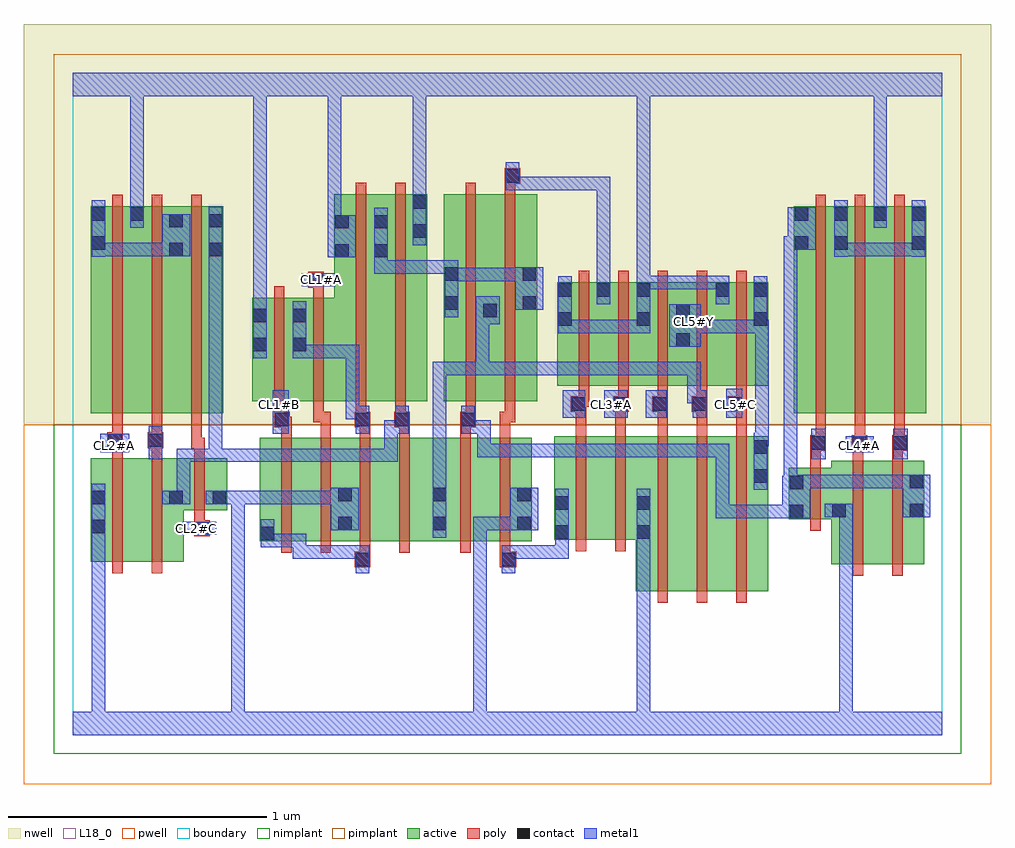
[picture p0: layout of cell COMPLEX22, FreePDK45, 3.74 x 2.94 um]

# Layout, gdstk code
import gdstk
lib = gdstk.Library(unit=1e-6, precision=1e-09)
def R(c, l, rs):  # rectangles x0, y0, x1, y1
    for r in rs: c.add(gdstk.rectangle(r[:2], r[2:], *l))
def A(c, l, x, y, w, h, nx, ny, dx, dy):  # array of equal rectangles
    R(c, l, [(x+i*dx, y+j*dy, x+i*dx+w, y+j*dy+h) for i in range(nx) for j in range(ny)])
active = (1, 0)
pwell = (2, 0)
nwell = (3, 0)
nimplant = (4, 0)
pimplant = (5, 0)
poly = (9, 0)
contact = (10, 0)
metal1 = (11, 0)
L18_0 = (18, 0)
boundary = (235, 0)

complex22 = lib.new_cell('COMPLEX22')
R(complex22, active, [(2.176,0.556,2.356,1.156), (2.356,0.556,2.508,1.156), (2.508,0.556,2.688,1.156), (2.628,0.556,2.688,1.156), (2.93,0.66,3.11,1.06), (3.11,0.66,3.29,1.06), (0.07,0.67,0.25,1.07), (0.25,0.67,0.43,1.07), (0.37,0.67,0.43,1.07), (0.722,0.75,0.902,1.15), (0.722,0.75,0.782,1.15), (0.902,0.75,1.082,1.15), (1.022,0.75,1.206,1.15), (1.206,0.75,1.448,1.15), (1.388,0.75,1.594,1.15), (1.594,0.75,1.774,1.15), (1.714,0.75,1.774,1.15), (0.07,0.756,0.13,1.07), (1.022,0.756,1.082,1.15), (1.388,0.756,1.448,1.15), (1.86,0.756,2.04,1.156), (1.86,0.756,1.92,1.156), (2.04,0.756,2.236,1.156), (2.176,0.756,2.236,1.156), (3.23,0.756,3.29,1.06), (2.766,0.834,2.99,1.034), (2.766,0.834,2.826,1.034), (2.93,0.838,2.99,1.034), (0.37,0.87,0.598,1.07), (0.538,0.87,0.598,1.07), (0.07,1.244,0.13,2.044), (0.07,1.244,0.278,2.044), (0.218,1.244,0.43,2.044), (0.37,1.244,0.582,2.044), (0.522,1.244,0.582,2.044), (2.786,1.244,2.846,2.044), (2.786,1.244,2.998,2.044), (2.938,1.244,3.15,2.044), (3.09,1.244,3.298,2.044), (3.238,1.244,3.298,2.044), (0.694,1.29,0.754,1.69), (0.694,1.29,0.906,1.69), (0.846,1.29,0.906,1.69), (0.846,1.29,1.07,1.69), (1.01,1.29,1.222,2.09), (1.01,1.29,1.07,2.014), (1.162,1.29,1.37,2.09), (1.31,1.29,1.37,2.09), (1.434,1.29,1.642,2.09), (1.434,1.29,1.494,2.044), (1.582,1.29,1.794,2.09), (1.734,1.29,1.794,2.044), (1.872,1.35,1.932,1.75), (1.872,1.35,2.08,1.75), (2.02,1.35,2.08,1.75), (2.02,1.35,2.236,1.75), (2.176,1.35,2.236,1.75), (2.176,1.35,2.388,1.75), (2.328,1.35,2.54,1.75), (2.328,1.35,2.388,1.67), (2.48,1.35,2.54,1.75), (2.48,1.35,2.688,1.75), (2.628,1.35,2.688,1.75), (1.582,1.612,1.642,2.044), (0.218,1.686,0.278,2.044), (0.37,1.686,0.43,2.044), (1.162,1.686,1.222,2.044), (2.938,1.686,2.998,2.044), (3.09,1.686,3.15,2.044)])
R(complex22, pwell, [(-0.188,-0.188,3.548,1.2)])
R(complex22, nwell, [(-0.188,1.2,3.548,2.748)])
R(complex22, nimplant, [(-0.072,-0.072,3.432,1.2)])
R(complex22, pimplant, [(-0.072,1.2,3.432,2.632)])
A(complex22, poly, 2.26, 0.512, 0.04, 0.688, 3, 1, 0.152, 0)
A(complex22, poly, 0.806, 0.706, 0.04, 0.488, 4, 1, 0.152, 0)
A(complex22, poly, 2.87, 1.12, 0.04, 0.12, 3, 1, 0.152, 0)
A(complex22, poly, 2.26, 1.16, 0.04, 0.13, 3, 1, 0.152, 0)
A(complex22, poly, 0.154, 1.2, 0.04, 0.888, 3, 1, 0.152, 0)
A(complex22, poly, 2.87, 1.2, 0.04, 0.888, 3, 1, 0.152, 0)
A(complex22, poly, 2.088, 1.25, 0.06, 0.06, 3, 1, 0.152, 0)
A(complex22, poly, 1.956, 1.27, 0.04, 0.076, 5, 1, 0.152, 0)
A(complex22, poly, 1.956, 1.306, 0.04, 0.488, 5, 1, 0.152, 0)
R(complex22, poly, [(3.014,0.616,3.054,1.104), (3.166,0.616,3.206,1.104), (0.154,0.626,0.194,1.114), (0.306,0.626,0.346,1.114), (1.09,0.65,1.15,0.71), (1.65,0.65,1.714,0.71), (1.11,0.67,1.15,0.746), (1.65,0.67,1.69,0.746), (1.498,0.706,1.538,1.194), (1.65,0.706,1.69,1.194), (1.944,0.712,1.984,1.2), (2.096,0.712,2.136,1.2), (0.47,0.77,0.53,0.83), (0.47,0.79,0.51,0.866), (2.85,0.79,2.89,1.078), (0.47,0.826,0.51,1.114), (2.85,1.038,2.89,1.14), (3.014,1.064,3.054,1.14), (3.166,1.064,3.206,1.14), (0.154,1.074,0.194,1.15), (0.306,1.074,0.346,1.15), (0.47,1.074,0.51,1.15), (2.85,1.1,2.91,1.16), (3.01,1.1,3.07,1.16), (3.166,1.1,3.226,1.16), (0.134,1.11,0.194,1.17), (0.154,1.11,0.194,1.15), (0.154,1.11,0.194,1.15), (0.29,1.11,0.35,1.17), (0.306,1.11,0.346,1.15), (0.306,1.11,0.346,1.15), (0.458,1.11,0.498,1.15), (0.458,1.11,0.498,1.15), (0.458,1.11,0.498,1.24), (0.458,1.11,0.51,1.15), (2.87,1.12,2.91,1.16), (2.87,1.12,2.91,1.16), (3.022,1.12,3.062,1.16), (3.022,1.12,3.062,1.16), (3.174,1.12,3.214,1.16), (3.174,1.12,3.214,1.16), (0.154,1.13,0.194,1.24), (0.306,1.13,0.346,1.24), (0.806,1.154,0.846,1.23), (0.958,1.154,0.998,1.25), (1.11,1.154,1.15,1.23), (1.262,1.154,1.302,1.23), (1.498,1.154,1.538,1.23), (1.65,1.154,1.69,1.25), (1.944,1.16,1.984,1.29), (2.096,1.16,2.136,1.29), (0.778,1.19,0.838,1.25), (0.798,1.19,0.838,1.23), (0.798,1.19,0.846,1.23), (1.09,1.19,1.15,1.25), (1.11,1.19,1.15,1.23), (1.11,1.19,1.15,1.23), (1.242,1.19,1.302,1.25), (1.498,1.19,1.558,1.25), (0.778,1.21,0.818,1.286), (0.93,1.21,0.97,1.25), (0.93,1.21,0.97,1.25), (0.93,1.21,0.97,1.286), (0.93,1.21,0.998,1.25), (1.094,1.21,1.134,1.286), (1.246,1.21,1.286,1.25), (1.246,1.21,1.286,1.25), (1.246,1.21,1.286,1.286), (1.518,1.21,1.558,1.25), (1.518,1.21,1.558,1.25), (1.518,1.21,1.558,1.286), (1.65,1.21,1.71,1.25), (1.67,1.21,1.71,1.25), (1.67,1.21,1.71,1.25), (1.67,1.21,1.71,1.286), (0.778,1.246,0.818,1.734), (0.93,1.246,0.97,1.734), (1.094,1.246,1.134,2.134), (1.246,1.246,1.286,2.134), (1.518,1.246,1.558,2.134), (1.67,1.246,1.71,2.134), (1.924,1.25,1.984,1.31), (2.412,1.25,2.452,1.29), (2.412,1.25,2.452,1.29), (2.53,1.25,2.604,1.31), (2.564,1.25,2.604,1.29), (2.564,1.25,2.604,1.29), (1.944,1.27,1.984,1.31), (1.944,1.27,1.996,1.31), (2.108,1.27,2.148,1.31), (2.108,1.27,2.148,1.31), (2.26,1.27,2.3,1.31), (2.26,1.27,2.3,1.31), (0.93,1.694,0.97,1.77), (0.91,1.73,0.97,1.79), (1.67,2.094,1.71,2.17), (1.67,2.13,1.73,2.19)])
A(complex22, contact, 2.092, 1.254, 0.052, 0.052, 3, 1, 0.152, 0)
A(complex22, contact, 2.79, 1.988, 0.052, 0.052, 3, 1, 0.152, 0)
R(complex22, contact, [(1.094,0.654,1.146,0.706), (1.658,0.654,1.71,0.706), (0.726,0.754,0.778,0.806), (1.864,0.76,1.916,0.812), (2.18,0.76,2.232,0.812), (0.474,0.774,0.526,0.826), (0.074,0.78,0.126,0.832), (1.026,0.792,1.078,0.844), (1.392,0.792,1.444,0.844), (1.718,0.792,1.77,0.844), (2.77,0.838,2.822,0.89), (2.934,0.842,2.986,0.894), (3.234,0.842,3.286,0.894), (1.864,0.872,1.916,0.924), (2.18,0.872,2.232,0.924), (0.074,0.892,0.126,0.944), (0.374,0.892,0.426,0.944), (0.542,0.892,0.594,0.944), (1.026,0.904,1.078,0.956), (1.392,0.904,1.444,0.956), (1.718,0.904,1.77,0.956), (2.77,0.95,2.822,1.002), (3.234,0.954,3.286,1.006), (2.632,0.976,2.684,1.028), (2.632,1.088,2.684,1.14), (2.854,1.104,2.906,1.156), (3.014,1.104,3.066,1.156), (3.17,1.104,3.222,1.156), (0.138,1.114,0.19,1.166), (0.294,1.114,0.346,1.166), (0.782,1.194,0.834,1.246), (1.094,1.194,1.146,1.246), (1.246,1.194,1.298,1.246), (1.502,1.194,1.554,1.246), (1.928,1.254,1.98,1.306), (2.534,1.254,2.586,1.306), (0.698,1.484,0.75,1.536), (0.85,1.484,0.902,1.536), (2.332,1.502,2.384,1.554), (1.876,1.582,1.928,1.634), (2.18,1.582,2.232,1.634), (2.632,1.582,2.684,1.634), (0.698,1.596,0.75,1.648), (0.85,1.596,0.902,1.648), (2.332,1.614,2.384,1.666), (1.586,1.616,1.638,1.668), (1.438,1.644,1.49,1.696), (1.738,1.644,1.79,1.696), (1.876,1.694,1.928,1.746), (2.024,1.694,2.076,1.746), (2.18,1.694,2.232,1.746), (2.484,1.694,2.536,1.746), (2.632,1.694,2.684,1.746), (0.914,1.734,0.966,1.786), (1.438,1.756,1.49,1.808), (1.738,1.756,1.79,1.808), (1.014,1.846,1.066,1.898), (1.166,1.846,1.218,1.898), (0.374,1.85,0.426,1.902), (0.526,1.85,0.578,1.902), (0.074,1.876,0.126,1.928), (2.79,1.876,2.842,1.928), (2.942,1.876,2.994,1.928), (3.242,1.876,3.294,1.928), (1.314,1.922,1.366,1.974), (1.014,1.958,1.066,2.01), (1.166,1.958,1.218,2.01), (0.374,1.962,0.426,2.014), (0.526,1.962,0.578,2.014), (0.074,1.988,0.126,2.04), (0.222,1.988,0.274,2.04), (3.242,1.988,3.294,2.04), (1.314,2.034,1.366,2.086), (1.674,2.134,1.726,2.186)])
R(complex22, metal1, [(0,0,3.36,0.092), (0.074,0.04,0.126,0.092), (0.074,0.04,0.126,0.092), (0.074,0.04,0.126,0.092), (0.074,0.04,0.126,0.092), (0.074,0.04,0.126,0.092), (0.074,0.04,0.126,0.092), (0.074,0.04,0.126,0.092), (0.074,0.04,0.126,0.092), (0.074,0.04,0.126,0.092), (0.074,0.04,0.126,0.092), (0.074,0.04,0.126,0.092), (0.074,0.04,0.126,0.092), (0.074,0.04,0.126,0.804), (0.612,0.04,0.664,0.092), (0.612,0.04,0.664,0.092), (0.612,0.04,0.664,0.092), (0.612,0.04,0.664,0.092), (0.612,0.04,0.664,0.092), (0.612,0.04,0.664,0.092), (0.612,0.04,0.664,0.44), (1.548,0.04,1.6,0.092), (1.548,0.04,1.6,0.092), (1.548,0.04,1.6,0.342), (2.18,0.04,2.232,0.784), (2.962,0.04,3.014,0.092), (2.962,0.04,3.014,0.092), (2.962,0.04,3.014,0.838), (1.548,0.29,1.6,0.342), (1.548,0.29,1.6,0.342), (1.548,0.29,1.6,0.342), (1.548,0.29,1.6,0.342), (1.548,0.29,1.6,0.342), (1.548,0.29,1.6,0.844), (0.612,0.388,0.664,0.44), (0.612,0.388,0.664,0.44), (0.612,0.388,0.664,0.44), (0.612,0.388,0.664,0.44), (0.612,0.388,0.664,0.44), (0.612,0.388,0.664,0.944), (1.094,0.626,1.146,0.734), (1.658,0.626,1.71,0.734), (0.85,0.682,0.902,0.734), (0.85,0.682,0.902,0.734), (0.85,0.682,0.902,0.734), (0.85,0.682,1.108,0.734), (0.85,0.682,0.902,0.778), (1.056,0.682,1.108,0.734), (1.056,0.682,1.146,0.734), (1.658,0.682,1.818,0.734), (1.766,0.682,1.818,0.734), (1.766,0.682,1.916,0.734), (1.864,0.682,1.916,0.734), (1.864,0.682,1.916,0.784), (0.726,0.726,0.778,0.778), (0.726,0.726,0.778,0.778), (0.726,0.726,0.778,0.834), (0.726,0.726,0.902,0.778), (0.85,0.726,0.902,0.778), (1.864,0.732,1.916,0.952), (2.18,0.732,2.232,0.784), (2.18,0.732,2.232,0.784), (2.18,0.732,2.232,0.784), (2.18,0.732,2.232,0.784), (2.18,0.732,2.232,0.784), (2.18,0.732,2.232,0.784), (2.18,0.732,2.232,0.784), (2.18,0.732,2.232,0.784), (2.18,0.732,2.232,0.952), (0.074,0.752,0.126,0.972), (1.392,0.764,1.444,0.984), (0.426,0.774,0.554,0.826), (2.962,0.786,3.014,0.838), (2.962,0.786,3.014,0.838), (2.962,0.786,3.014,0.838), (2.962,0.786,3.014,0.838), (2.962,0.786,3.014,0.838), (2.962,0.786,3.014,0.838), (2.962,0.786,3.014,0.838), (2.962,0.786,3.014,0.838), (2.962,0.786,3.014,0.838), (2.962,0.786,3.014,0.894), (0.998,0.792,1.106,0.956), (1.548,0.792,1.6,0.844), (1.548,0.792,1.6,0.844), (1.548,0.792,1.6,0.844), (1.548,0.792,1.6,0.844), (1.548,0.792,1.6,0.844), (1.548,0.792,1.742,0.844), (1.69,0.792,1.742,0.844), (1.69,0.792,1.742,0.844), (1.69,0.792,1.798,0.956), (2.484,0.838,2.536,0.89), (2.484,0.838,2.536,0.89), (2.484,0.838,2.536,0.89), (2.484,0.838,2.774,0.89), (2.484,0.838,2.536,1.126), (2.722,0.838,2.774,0.89), (2.722,0.838,2.794,0.89), (2.742,0.838,2.85,1.002), (2.906,0.842,3.014,0.894), (3.206,0.842,3.314,1.006), (0.346,0.892,0.454,0.944), (0.402,0.892,0.454,1.108), (0.514,0.892,0.664,0.944), (0.612,0.892,0.664,0.944), (0.612,0.892,0.664,0.944), (0.612,0.892,0.664,0.944), (0.612,0.892,0.664,0.944), (0.612,0.892,0.792,0.944), (0.74,0.892,0.792,0.944), (0.74,0.892,0.792,0.944), (0.74,0.892,0.792,0.944), (0.74,0.892,0.902,0.944), (0.85,0.892,0.902,0.944), (0.85,0.892,0.902,0.944), (0.85,0.892,0.902,0.944), (0.85,0.892,1.05,0.944), (1.392,0.932,1.444,0.984), (1.392,0.932,1.444,0.984), (1.392,0.932,1.444,1.444), (2.632,0.948,2.684,1.168), (2.748,0.95,2.8,1.002), (2.748,0.95,2.8,1.006), (2.748,0.954,2.884,1.006), (2.748,0.954,2.8,1.928), (2.832,0.954,2.884,1.006), (2.832,0.954,3.036,1.006), (2.984,0.954,3.036,1.006), (2.984,0.954,3.036,1.006), (2.984,0.954,3.036,1.006), (2.984,0.954,3.146,1.006), (3.094,0.954,3.146,1.006), (3.094,0.954,3.258,1.006), (3.206,0.954,3.258,1.006), (3.206,0.954,3.258,1.006), (0.402,1.056,0.456,1.108), (0.404,1.056,0.456,1.108), (0.404,1.056,0.456,1.108), (0.404,1.056,0.456,1.108), (0.404,1.056,0.456,1.108), (0.404,1.056,0.456,1.108), (0.404,1.056,0.456,1.108), (0.404,1.056,0.566,1.108), (0.404,1.056,0.578,1.108), (0.514,1.056,0.566,1.108), (0.514,1.056,0.774,1.108), (0.526,1.056,0.578,1.108), (0.526,1.056,0.578,1.874), (0.722,1.056,0.774,1.108), (0.722,1.056,0.774,1.108), (0.722,1.056,0.774,1.108), (0.722,1.056,0.902,1.108), (0.85,1.056,0.902,1.108), (0.85,1.056,0.928,1.108), (0.876,1.056,0.928,1.108), (0.876,1.056,1.038,1.108), (0.986,1.056,1.038,1.108), (0.986,1.056,1.038,1.108), (0.986,1.056,1.038,1.108), (0.986,1.056,1.256,1.108), (1.204,1.056,1.256,1.218), (0.294,1.066,0.346,1.194), (2.854,1.066,2.91,1.184), (3.17,1.066,3.226,1.184), (1.564,1.074,1.616,1.126), (1.564,1.074,1.664,1.126), (1.564,1.074,1.616,1.218), (1.612,1.074,1.664,1.126), (1.612,1.074,1.818,1.126), (1.766,1.074,1.818,1.126), (1.766,1.074,1.932,1.126), (1.88,1.074,1.932,1.126), (1.88,1.074,1.932,1.126), (1.88,1.074,1.932,1.126), (1.88,1.074,2.122,1.126), (2.07,1.074,2.122,1.126), (2.07,1.074,2.122,1.126), (2.07,1.074,2.122,1.126), (2.07,1.074,2.246,1.126), (2.194,1.074,2.246,1.126), (2.194,1.074,2.246,1.126), (2.194,1.074,2.246,1.126), (2.194,1.074,2.426,1.126), (2.374,1.074,2.426,1.126), (2.374,1.074,2.426,1.126), (2.374,1.074,2.426,1.126), (2.374,1.074,2.536,1.126), (2.484,1.074,2.536,1.126), (0.106,1.094,0.218,1.166), (2.986,1.094,3.094,1.156), (2.632,1.116,2.684,1.168), (2.632,1.116,2.69,1.168), (2.638,1.116,2.69,1.606), (0.774,1.166,0.834,1.334), (1.094,1.166,1.146,1.274), (1.204,1.166,1.298,1.218), (1.246,1.166,1.298,1.274), (1.502,1.166,1.554,1.274), (1.502,1.166,1.616,1.218), (1.564,1.166,1.616,1.218), (1.056,1.222,1.108,1.274), (1.056,1.222,1.146,1.274), (1.056,1.222,1.108,1.508), (1.894,1.226,1.98,1.334), (2.054,1.226,2.144,1.334), (2.214,1.226,2.296,1.334), (2.396,1.226,2.448,1.334), (2.526,1.226,2.586,1.338), (2.374,1.282,2.448,1.334), (2.374,1.282,2.426,1.444), (1.392,1.392,1.476,1.444), (1.424,1.392,1.476,1.444), (1.424,1.392,1.476,1.444), (1.424,1.392,1.61,1.444), (1.558,1.392,1.61,1.444), (1.558,1.392,1.806,1.444), (1.558,1.392,1.61,1.64), (1.754,1.392,1.806,1.444), (1.754,1.392,1.806,1.444), (1.754,1.392,1.806,1.444), (1.754,1.392,1.928,1.444), (1.876,1.392,1.928,1.444), (1.876,1.392,1.928,1.444), (1.876,1.392,1.928,1.444), (1.876,1.392,2.122,1.444), (2.07,1.392,2.122,1.444), (2.07,1.392,2.122,1.444), (2.07,1.392,2.122,1.444), (2.07,1.392,2.232,1.444), (2.18,1.392,2.232,1.444), (2.18,1.392,2.232,1.444), (2.18,1.392,2.232,1.444), (2.18,1.392,2.426,1.444), (0.698,1.456,0.75,1.676), (0.85,1.456,0.902,1.508), (0.85,1.456,0.902,1.508), (0.85,1.456,0.902,1.676), (0.85,1.456,1.108,1.508), (1.056,1.456,1.108,1.508), (2.304,1.502,2.426,1.666), (1.876,1.554,1.928,1.606), (1.876,1.554,1.928,1.606), (1.876,1.554,1.928,1.774), (1.876,1.554,2.098,1.606), (2.046,1.554,2.098,1.606), (2.046,1.554,2.098,1.606), (2.046,1.554,2.098,1.606), (2.046,1.554,2.232,1.606), (2.18,1.554,2.232,1.606), (2.18,1.554,2.232,1.606), (2.18,1.554,2.232,1.774), (2.374,1.554,2.426,1.606), (2.374,1.554,2.426,1.606), (2.374,1.554,2.574,1.606), (2.522,1.554,2.574,1.606), (2.522,1.554,2.574,1.606), (2.522,1.554,2.574,1.606), (2.522,1.554,2.684,1.606), (2.632,1.554,2.684,1.606), (2.632,1.554,2.684,1.774), (2.632,1.554,2.69,1.606), (2.638,1.554,2.69,1.606), (2.638,1.554,2.69,1.606), (1.558,1.588,1.65,1.696), (1.438,1.616,1.49,1.836), (0.698,1.624,0.75,1.676), (0.698,1.624,0.75,1.676), (0.698,1.624,0.75,1.676), (0.698,1.624,0.75,1.676), (0.698,1.624,0.75,1.676), (0.698,1.624,0.75,1.676), (0.698,1.624,0.75,1.676), (0.698,1.624,0.75,1.676), (0.698,1.624,0.75,2.06), (1.71,1.644,1.818,1.808), (2.024,1.666,2.076,1.774), (2.484,1.666,2.536,1.776), (2.024,1.722,2.076,1.774), (2.024,1.722,2.076,1.774), (2.024,1.722,2.076,1.774), (2.024,1.722,2.076,1.774), (2.024,1.722,2.076,1.774), (2.024,1.722,2.076,1.774), (2.024,1.722,2.076,2.158), (2.18,1.722,2.232,1.774), (2.18,1.722,2.232,1.776), (2.18,1.722,2.232,2.124), (2.18,1.724,2.426,1.776), (2.374,1.724,2.426,1.776), (2.374,1.724,2.426,1.776), (2.374,1.724,2.426,1.776), (2.374,1.724,2.536,1.776), (0.886,1.734,1.014,1.786), (1.438,1.754,1.49,1.806), (1.438,1.754,1.49,1.806), (1.438,1.754,1.6,1.806), (1.548,1.754,1.6,1.806), (1.548,1.754,1.762,1.806), (1.71,1.754,1.762,1.806), (1.71,1.754,1.762,1.806), (1.166,1.784,1.366,1.836), (1.166,1.784,1.218,1.87), (1.314,1.784,1.366,1.836), (1.314,1.784,1.49,1.836), (1.166,1.818,1.218,1.87), (1.166,1.818,1.218,2.038), (0.526,1.822,0.578,2.042), (0.986,1.846,1.094,2.01), (0.074,1.848,0.126,2.068), (2.942,1.848,2.994,2.068), (3.242,1.848,3.294,2.068), (0.074,1.85,0.236,1.902), (0.184,1.85,0.236,1.902), (0.184,1.85,0.236,1.902), (0.184,1.85,0.236,1.902), (0.184,1.85,0.346,1.902), (0.294,1.85,0.346,1.902), (0.294,1.85,0.398,1.902), (0.346,1.85,0.454,2.014), (2.942,1.85,2.994,1.902), (2.942,1.85,2.994,1.902), (2.942,1.85,3.148,1.902), (3.096,1.85,3.148,1.902), (3.096,1.85,3.294,1.902), (3.242,1.85,3.294,1.902), (3.242,1.85,3.294,1.902), (2.748,1.876,2.8,1.928), (2.748,1.876,2.8,1.928), (2.748,1.876,2.814,1.928), (2.762,1.876,2.814,1.928), (2.762,1.876,2.87,2.04), (1.314,1.894,1.366,2.114), (0.986,1.958,1.038,2.158), (0.222,1.96,0.274,2.068), (3.094,1.96,3.146,2.068), (0.698,2.008,0.75,2.06), (0.698,2.008,0.75,2.06), (0.698,2.008,0.75,2.06), (0.698,2.008,0.75,2.52), (0.222,2.016,0.274,2.08), (3.094,2.016,3.146,2.068), (3.094,2.016,3.146,2.068), (3.094,2.016,3.146,2.068), (3.094,2.016,3.146,2.068), (3.094,2.016,3.146,2.068), (3.094,2.016,3.146,2.068), (3.094,2.016,3.146,2.52), (0.222,2.028,0.274,2.08), (0.222,2.028,0.274,2.08), (0.222,2.028,0.274,2.08), (0.222,2.028,0.274,2.52), (1.314,2.062,1.366,2.114), (1.314,2.062,1.366,2.114), (1.314,2.062,1.366,2.114), (1.314,2.062,1.366,2.114), (1.314,2.062,1.366,2.114), (1.314,2.062,1.366,2.114), (1.314,2.062,1.366,2.114), (1.314,2.062,1.366,2.114), (1.314,2.062,1.366,2.52), (2.18,2.072,2.232,2.124), (2.18,2.072,2.232,2.124), (2.18,2.072,2.232,2.124), (2.18,2.072,2.232,2.124), (2.18,2.072,2.232,2.124), (2.18,2.072,2.232,2.192), (0.986,2.106,1.038,2.158), (0.986,2.106,1.038,2.158), (0.986,2.106,1.038,2.158), (0.986,2.106,1.038,2.52), (1.674,2.106,1.726,2.158), (1.674,2.106,1.726,2.158), (1.674,2.106,1.726,2.158), (1.674,2.106,1.726,2.158), (1.674,2.106,1.726,2.214), (1.674,2.106,1.966,2.158), (1.914,2.106,1.966,2.158), (1.914,2.106,1.966,2.158), (1.914,2.106,1.966,2.158), (1.914,2.106,2.076,2.158), (2.024,2.106,2.076,2.158), (2.18,2.14,2.232,2.192), (2.18,2.14,2.232,2.192), (2.18,2.14,2.232,2.192), (2.18,2.14,2.232,2.192), (2.18,2.14,2.232,2.192), (2.18,2.14,2.232,2.192), (2.18,2.14,2.232,2.192), (2.18,2.14,2.232,2.192), (2.18,2.14,2.232,2.192), (2.18,2.14,2.232,2.52), (0,2.468,3.36,2.56), (0.222,2.468,0.274,2.52), (0.222,2.468,0.274,2.52), (0.222,2.468,0.274,2.52), (0.222,2.468,0.274,2.52), (0.698,2.468,0.75,2.52), (0.698,2.468,0.75,2.52), (0.698,2.468,0.75,2.52), (0.698,2.468,0.75,2.52), (0.986,2.468,1.038,2.52), (0.986,2.468,1.038,2.52), (0.986,2.468,1.038,2.52), (0.986,2.468,1.038,2.52), (3.094,2.468,3.146,2.52), (3.094,2.468,3.146,2.52)])
A(complex22, L18_0, 2.854, 1.094, 0.052, 0.052, 3, 1, 0.16, 0)
A(complex22, L18_0, 1.894, 1.254, 0.052, 0.052, 3, 1, 0.16, 0)
R(complex22, L18_0, [(0,0,3.36,0.092), (0.074,0.04,0.126,0.092), (0.074,0.04,0.126,0.092), (0.074,0.04,0.126,0.092), (0.074,0.04,0.126,0.092), (0.074,0.04,0.126,0.092), (0.074,0.04,0.126,0.092), (0.074,0.04,0.126,0.092), (0.074,0.04,0.126,0.092), (0.074,0.04,0.126,0.092), (0.074,0.04,0.126,0.092), (0.074,0.04,0.126,0.092), (0.074,0.04,0.126,0.092), (0.074,0.04,0.126,0.804), (0.612,0.04,0.664,0.092), (0.612,0.04,0.664,0.092), (0.612,0.04,0.664,0.092), (0.612,0.04,0.664,0.092), (0.612,0.04,0.664,0.092), (0.612,0.04,0.664,0.092), (0.612,0.04,0.664,0.44), (1.548,0.04,1.6,0.092), (1.548,0.04,1.6,0.092), (1.548,0.04,1.6,0.342), (2.18,0.04,2.232,0.784), (2.962,0.04,3.014,0.092), (2.962,0.04,3.014,0.092), (2.962,0.04,3.014,0.838), (1.548,0.29,1.6,0.342), (1.548,0.29,1.6,0.342), (1.548,0.29,1.6,0.342), (1.548,0.29,1.6,0.342), (1.548,0.29,1.6,0.342), (1.548,0.29,1.6,0.844), (0.612,0.388,0.664,0.44), (0.612,0.388,0.664,0.44), (0.612,0.388,0.664,0.44), (0.612,0.388,0.664,0.44), (0.612,0.388,0.664,0.44), (0.612,0.388,0.664,0.944), (2.18,0.732,2.232,0.784), (2.18,0.732,2.232,0.784), (2.18,0.732,2.232,0.784), (2.18,0.732,2.232,0.784), (2.18,0.732,2.232,0.784), (2.18,0.732,2.232,0.784), (2.18,0.732,2.232,0.784), (2.18,0.732,2.232,0.784), (2.18,0.732,2.232,0.952), (0.074,0.752,0.126,0.972), (0.426,0.774,0.554,0.826), (0.454,0.774,0.506,0.826), (2.962,0.786,3.014,0.838), (2.962,0.786,3.014,0.838), (2.962,0.786,3.014,0.838), (2.962,0.786,3.014,0.838), (2.962,0.786,3.014,0.838), (2.962,0.786,3.014,0.838), (2.962,0.786,3.014,0.838), (2.962,0.786,3.014,0.838), (2.962,0.786,3.014,0.838), (2.962,0.786,3.014,0.894), (0.998,0.792,1.106,0.956), (1.548,0.792,1.6,0.844), (1.548,0.792,1.6,0.844), (1.548,0.792,1.6,0.844), (1.548,0.792,1.6,0.844), (1.548,0.792,1.6,0.844), (1.548,0.792,1.742,0.844), (1.69,0.792,1.742,0.844), (1.69,0.792,1.742,0.844), (1.69,0.792,1.798,0.956), (2.906,0.842,3.014,0.894), (0.514,0.892,0.664,0.944), (0.612,0.892,0.664,0.944), (0.612,0.892,0.664,0.944), (0.612,0.892,0.664,0.944), (0.612,0.892,0.664,0.944), (0.612,0.892,0.792,0.944), (0.74,0.892,0.792,0.944), (0.74,0.892,0.792,0.944), (0.74,0.892,0.792,0.944), (0.74,0.892,0.902,0.944), (0.85,0.892,0.902,0.944), (0.85,0.892,0.902,0.944), (0.85,0.892,0.902,0.944), (0.85,0.892,1.05,0.944), (2.632,0.948,2.684,1.168), (0.294,1.066,0.346,1.194), (2.854,1.066,2.91,1.184), (3.17,1.066,3.226,1.184), (0.106,1.094,0.218,1.166), (0.134,1.094,0.186,1.146), (0.294,1.094,0.346,1.146), (2.986,1.094,3.094,1.156), (2.632,1.116,2.684,1.168), (2.632,1.116,2.69,1.168), (2.638,1.116,2.69,1.606), (0.774,1.166,0.834,1.334), (1.894,1.226,1.98,1.334), (2.054,1.226,2.144,1.334), (2.214,1.226,2.296,1.334), (2.526,1.226,2.586,1.338), (0.774,1.254,0.826,1.306), (2.534,1.254,2.586,1.306), (0.698,1.456,0.75,1.676), (2.304,1.502,2.426,1.666), (1.876,1.554,1.928,1.606), (1.876,1.554,1.928,1.606), (1.876,1.554,1.928,1.774), (1.876,1.554,2.098,1.606), (2.046,1.554,2.098,1.606), (2.046,1.554,2.098,1.606), (2.046,1.554,2.098,1.606), (2.046,1.554,2.232,1.606), (2.18,1.554,2.232,1.606), (2.18,1.554,2.232,1.606), (2.18,1.554,2.232,1.774), (2.374,1.554,2.426,1.606), (2.374,1.554,2.426,1.606), (2.374,1.554,2.574,1.606), (2.522,1.554,2.574,1.606), (2.522,1.554,2.574,1.606), (2.522,1.554,2.574,1.606), (2.522,1.554,2.684,1.606), (2.632,1.554,2.684,1.606), (2.632,1.554,2.684,1.774), (2.632,1.554,2.69,1.606), (2.638,1.554,2.69,1.606), (2.638,1.554,2.69,1.606), (2.374,1.574,2.426,1.626), (0.698,1.624,0.75,1.676), (0.698,1.624,0.75,1.676), (0.698,1.624,0.75,1.676), (0.698,1.624,0.75,1.676), (0.698,1.624,0.75,1.676), (0.698,1.624,0.75,1.676), (0.698,1.624,0.75,1.676), (0.698,1.624,0.75,1.676), (0.698,1.624,0.75,2.06), (2.484,1.666,2.536,1.776), (2.18,1.722,2.232,1.774), (2.18,1.722,2.232,2.124), (2.18,1.722,2.232,1.776), (2.18,1.724,2.426,1.776), (2.374,1.724,2.426,1.776), (2.374,1.724,2.426,1.776), (2.374,1.724,2.426,1.776), (2.374,1.724,2.536,1.776), (0.886,1.734,1.014,1.786), (0.934,1.734,0.986,1.786), (0.986,1.846,1.094,2.01), (1.314,1.894,1.366,2.114), (0.986,1.958,1.038,2.158), (0.222,1.96,0.274,2.068), (3.094,1.96,3.146,2.068), (0.698,2.008,0.75,2.06), (0.698,2.008,0.75,2.06), (0.698,2.008,0.75,2.06), (0.698,2.008,0.75,2.52), (0.222,2.016,0.274,2.08), (3.094,2.016,3.146,2.068), (3.094,2.016,3.146,2.068), (3.094,2.016,3.146,2.068), (3.094,2.016,3.146,2.068), (3.094,2.016,3.146,2.068), (3.094,2.016,3.146,2.068), (3.094,2.016,3.146,2.52), (0.222,2.028,0.274,2.08), (0.222,2.028,0.274,2.08), (0.222,2.028,0.274,2.08), (0.222,2.028,0.274,2.52), (1.314,2.062,1.366,2.114), (1.314,2.062,1.366,2.114), (1.314,2.062,1.366,2.114), (1.314,2.062,1.366,2.114), (1.314,2.062,1.366,2.114), (1.314,2.062,1.366,2.114), (1.314,2.062,1.366,2.114), (1.314,2.062,1.366,2.114), (1.314,2.062,1.366,2.52), (2.18,2.072,2.232,2.124), (2.18,2.072,2.232,2.124), (2.18,2.072,2.232,2.124), (2.18,2.072,2.232,2.124), (2.18,2.072,2.232,2.124), (2.18,2.072,2.232,2.192), (0.986,2.106,1.038,2.158), (0.986,2.106,1.038,2.158), (0.986,2.106,1.038,2.158), (0.986,2.106,1.038,2.52), (2.18,2.14,2.232,2.192), (2.18,2.14,2.232,2.192), (2.18,2.14,2.232,2.192), (2.18,2.14,2.232,2.192), (2.18,2.14,2.232,2.192), (2.18,2.14,2.232,2.192), (2.18,2.14,2.232,2.192), (2.18,2.14,2.232,2.192), (2.18,2.14,2.232,2.192), (2.18,2.14,2.232,2.52), (0,2.468,3.36,2.56), (0.222,2.468,0.274,2.52), (0.222,2.468,0.274,2.52), (0.222,2.468,0.274,2.52), (0.222,2.468,0.274,2.52), (0.698,2.468,0.75,2.52), (0.698,2.468,0.75,2.52), (0.698,2.468,0.75,2.52), (0.698,2.468,0.75,2.52), (0.986,2.468,1.038,2.52), (0.986,2.468,1.038,2.52), (0.986,2.468,1.038,2.52), (0.986,2.468,1.038,2.52), (3.094,2.468,3.146,2.52), (3.094,2.468,3.146,2.52)])
R(complex22, boundary, [(0,0,3.36,2.56)])
complex22.add(gdstk.Label('CL1#A', (0.96,1.76), layer=11, texttype=0))
complex22.add(gdstk.Label('CL1#B', (0.8,1.28), layer=11, texttype=0))
complex22.add(gdstk.Label('CL2#A', (0.16,1.12), layer=11, texttype=0))
complex22.add(gdstk.Label('CL2#B', (0.32,1.12), layer=11, texttype=0))
complex22.add(gdstk.Label('CL2#C', (0.48,0.8), layer=11, texttype=0))
complex22.add(gdstk.Label('CL3#A', (2.08,1.28), layer=11, texttype=0))
complex22.add(gdstk.Label('CL3#B', (1.92,1.28), layer=11, texttype=0))
complex22.add(gdstk.Label('CL4#A', (3.04,1.12), layer=11, texttype=0))
complex22.add(gdstk.Label('CL4#B', (3.2,1.12), layer=11, texttype=0))
complex22.add(gdstk.Label('CL4#C', (2.88,1.12), layer=11, texttype=0))
complex22.add(gdstk.Label('CL5#A', (2.24,1.28), layer=11, texttype=0))
complex22.add(gdstk.Label('CL5#C', (2.56,1.28), layer=11, texttype=0))
complex22.add(gdstk.Label('CL5#Y', (2.4,1.6), layer=11, texttype=0))

lib.write_gds('COMPLEX22.gds')
